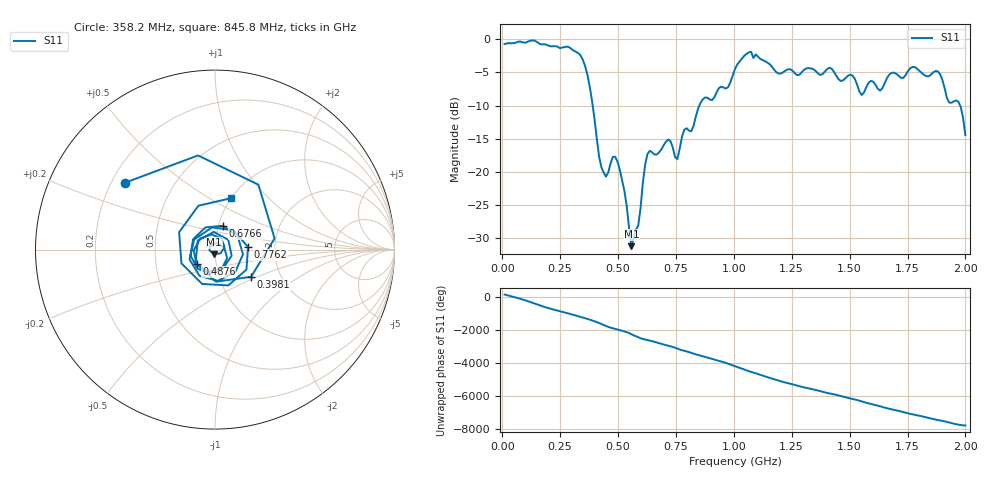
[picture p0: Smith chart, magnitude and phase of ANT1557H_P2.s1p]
!Created with skrf (http://scikit-rf.org).
# Hz S RI R 50.0
!freq ReS11 ImS11
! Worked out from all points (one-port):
!   201 points, 10 MHz to 2 GHz, reference 50 ohm
!   lowest |S11| = -31.3 dB at 557.2 MHz (marker M1), VSWR 1.06, Z = 49.4 - j2.66 ohm
!   |S11| at or under -10 dB: 390.3 MHz to 851 MHz (460.7 MHz wide, 74.2 % of centre); 1.977 GHz to end of sweep
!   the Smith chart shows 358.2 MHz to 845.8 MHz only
!   S11 on the Smith chart (normalised r, x): 358.2 MHz: 0.26, +0.31; 398.1 MHz: 1.42, -0.46; 487.6 MHz: 0.80, -0.13; 676.6 MHz: 1.05, +0.29; 776.1 MHz: 1.45, +0.04; 845.8 MHz: 1.00, +0.63
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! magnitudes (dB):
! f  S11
! 10 MHz  -0.7
! 258.8 MHz  -1.2
! 358.2 MHz  -4.1
! 398.1 MHz  -12.0
! 417.9 MHz  -17.7
! 437.9 MHz  -20.1
! 487.6 MHz  -17.7
! 507.5 MHz  -19.7
! 557.2 MHz  -31.3
! 587.1 MHz  -28.1
! 626.9 MHz  -17.3
! 676.6 MHz  -17.1
! 716.5 MHz  -15.1
! 756.2 MHz  -18.1
! 776.1 MHz  -14.7
! 816 MHz  -13.9
! 845.8 MHz  -10.4
! 975.1 MHz  -7.2
! 1.005 GHz  -4.5
! 1.075 GHz  -1.9
! 1.254 GHz  -4.7
! 1.502 GHz  -5.3
! 1.552 GHz  -8.4
! 1.751 GHz  -4.8
! 1.881 GHz  -4.8
! 1.93 GHz  -9.6
! 1.97 GHz  -9.4
! 2 GHz  -14.5
